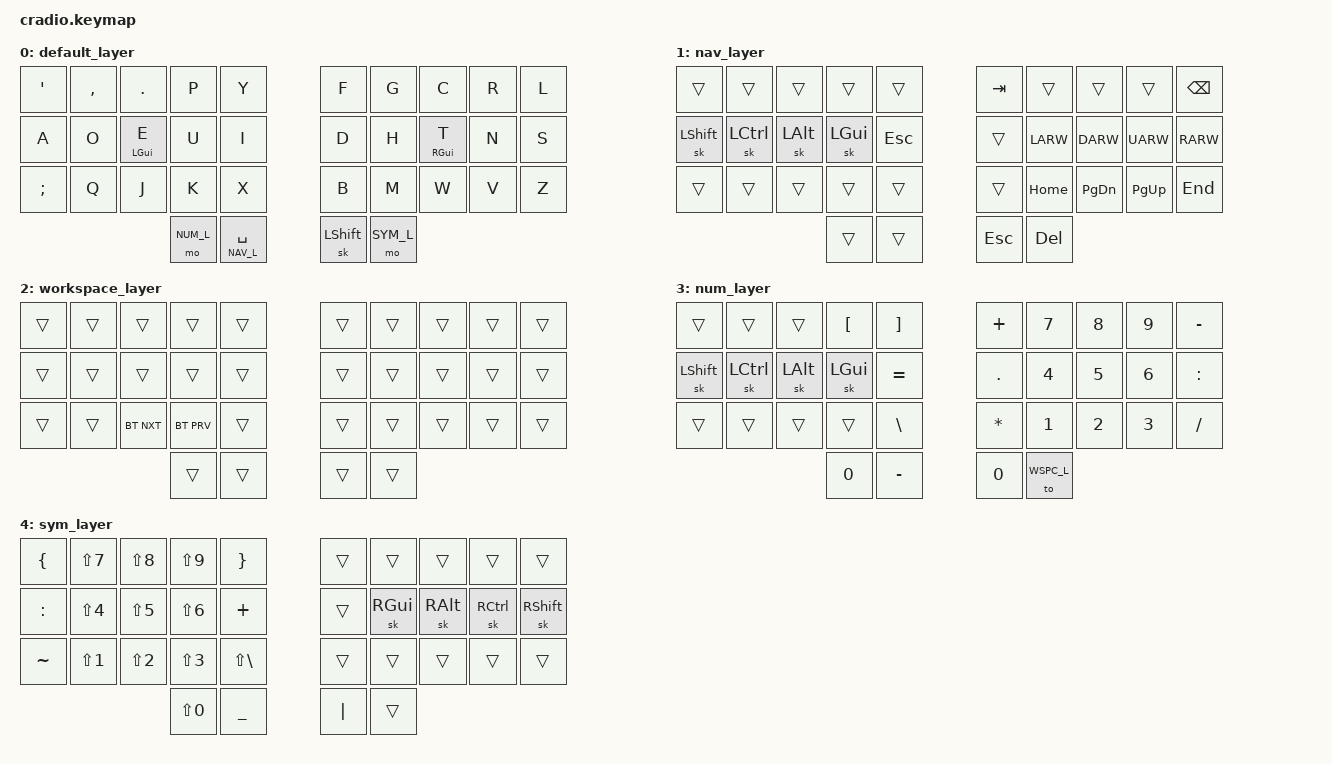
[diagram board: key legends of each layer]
/*
 * Copyright (c) 2020 The ZMK Contributors
 *
 * SPDX-License-Identifier: MIT
 */

#include <behaviors.dtsi>
#include <dt-bindings/zmk/keys.h>
#include <dt-bindings/zmk/bt.h>

#define NAV_L 1
#define WSPC_L 2
#define NUM_L 3
#define SYM_L 4
#define RMOD_L 5
#define LMOD_L 6

// Using layer taps on thumbs, having quick tap as well helps w/ repeating space/backspace
&lt { quick_tap_ms = <200>; };

/ {
    behaviors {
        hm: homerow_mods {
            compatible = "zmk,behavior-hold-tap";
            label = "homerow mods";
            #binding-cells = <2>;
            tapping_term_ms = <200>;
            flavor = "tap-preferred";
            bindings = <&kp>, <&kp>;
        };
    };

    keymap {
        compatible = "zmk,keymap";

        default_layer {
            bindings = <
                &kp QUOT      &kp COMMA  &kp DOT     &kp P          &kp Y         &kp F            &kp G          &kp C       &kp R      &kp L
                &kp A         &kp O      &hm LGUI E  &kp U          &kp I         &kp D            &kp H          &hm RGUI T  &kp N      &kp S
                &kp SEMI      &kp Q      &kp J       &kp K          &kp X         &kp B            &kp M          &kp W       &kp V      &kp Z
                                                     &mo NUM_L      &lt NAV_L SPC &sk LSHFT        &mo SYM_L
            >;
        };

        nav_layer {
            bindings = <
                &trans     &trans     &trans      &trans          &trans       &kp TAB          &trans         &trans      &trans     &kp BSPC
                &sk LSHIFT &sk LCTRL  &sk LALT    &sk LGUI        &kp ESC      &trans           &kp LARW       &kp DARW    &kp UARW   &kp RARW
                &trans     &trans     &trans      &trans          &trans       &trans           &kp HOME       &kp PG_DN   &kp PG_UP  &kp END
                                                  &trans          &trans       &kp ESC          &kp DEL
            >;
        };

        workspace_layer {
            bindings = <
                &trans     &trans     &trans      &trans          &trans       &trans           &trans         &trans      &trans     &trans
                &trans     &trans     &trans      &trans          &trans       &trans           &trans         &trans      &trans     &trans
                &trans     &trans     &bt BT_NXT  &bt BT_PRV      &trans       &trans           &trans         &trans      &trans     &trans
                                                  &trans          &trans       &trans           &trans
            >;
        };

        num_layer {
            bindings = <
                &trans   &trans     &trans      &kp LBKT          &kp RBKT      &kp PLUS        &kp N7         &kp N8      &kp N9     &kp MINUS
                &sk LSHIFT &sk LCTRL &sk LALT   &sk LGUI          &kp EQUAL     &kp DOT         &kp N4         &kp N5      &kp N6     &kp COLON
                &trans   &trans     &trans      &trans            &kp BSLH      &kp STAR        &kp N1         &kp N2      &kp N3     &kp SLASH
                                                  &kp N0          &kp MINUS     &kp N0          &to WSPC_L
            >;
        };

        sym_layer {
            bindings = <
                &kp LBRC      &kp LS(N7)  &kp LS(N8)  &kp LS(N9) &kp RBRC       &trans &trans   &trans    &trans    &trans
                &kp COLON     &kp LS(N4)  &kp LS(N5)  &kp LS(N6) &kp PLUS       &trans &sk RGUI   &sk RALT    &sk RCTRL    &sk RSHIFT
                &kp TILDE     &kp LS(N1)  &kp LS(N2)  &kp LS(N3) &kp LS(BSLH)   &trans &trans   &trans    &trans    &trans
                                                      &kp LS(N0) &kp UNDER      &kp PIPE &trans
            >;
        };
    };
};
